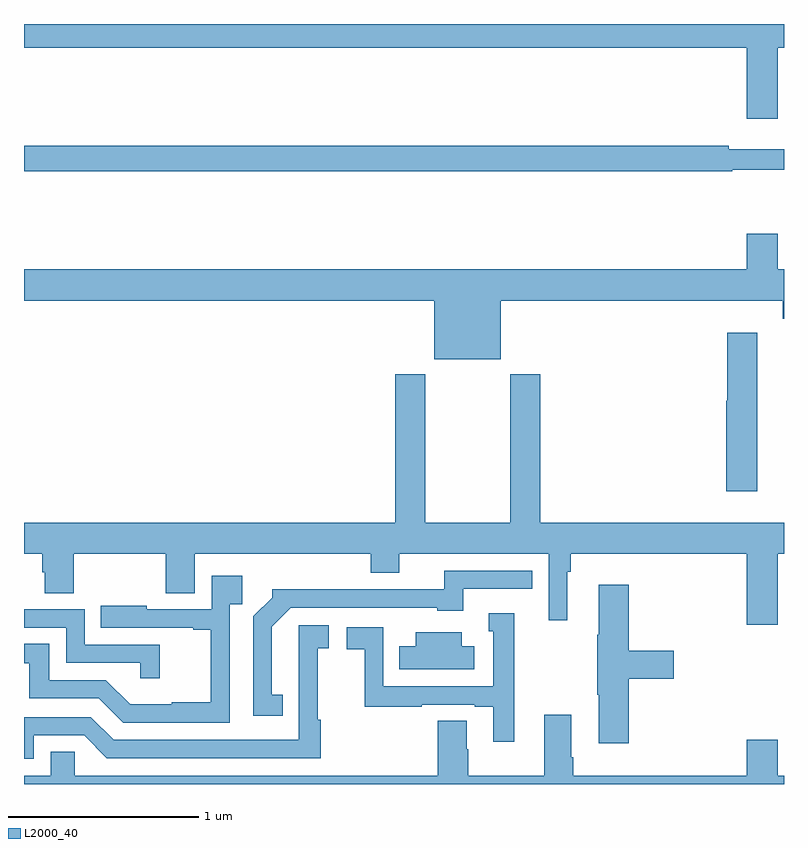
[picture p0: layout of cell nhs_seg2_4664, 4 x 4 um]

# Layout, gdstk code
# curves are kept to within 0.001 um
import gdstk
lib = gdstk.Library(unit=1e-6, precision=1e-09)
def P(c, l, *ps):  # polygons
    for p in ps: c.add(gdstk.Polygon(p, *l))
L2000_40 = (2000, 40)

nhs_seg2_4664 = lib.new_cell('nhs_seg2_4664')
P(nhs_seg2_4664, L2000_40, [(368.968,607.676),(369,607.676),(369,607.8),(365,607.8),(365,607.676),(368.804,607.676),(368.804,607.302),(368.968,607.302)],
  [(368.728,607.032),(369,607.032),(369,607.141),(368.708,607.141),(368.708,607.16),(365,607.16),(365,607.024),(368.728,607.024)],
  [(367.51,606.344),(368.993,606.344),(368.993,606.248),(369,606.248),(369,606.508),(368.968,606.508),(368.968,606.697),(368.804,606.697),(368.804,606.508),(365,606.508),(365,606.344),(367.16,606.344),(367.16,606.035),(367.51,606.035)],
  [(368.86,606.175),(368.702,606.175),(368.702,605.817),(368.696,605.817),(368.696,605.34),(368.86,605.34)],
  [(368.968,605.012),(369,605.012),(369,605.176),(367.718,605.176),(367.718,605.956),(367.558,605.956),(367.558,605.176),(367.113,605.176),(367.113,605.956),(366.953,605.956),(366.953,605.176),(365,605.176),(365,605.012),(365.096,605.012),(365.096,604.914),(365.108,604.914),(365.108,604.804),(365.261,604.804),(365.261,605.012),(365.747,605.012),(365.747,604.804),(365.899,604.804),(365.899,605.012),(366.824,605.012),(366.824,604.913),(366.976,604.913),(366.976,605.012),(367.761,605.012),(367.761,604.662),(367.858,604.662),(367.858,604.916),(367.877,604.916),(367.877,605.012),(368.804,605.012),(368.804,604.638),(368.968,604.638)],
  [(366.362,604.271),(366.304,604.271),(366.304,604.627),(366.405,604.728),(367.176,604.728),(367.176,604.712),(367.312,604.712),(367.312,604.827),(367.676,604.827),(367.676,604.923),(367.213,604.923),(367.213,604.824),(366.74,604.824),(366.74,604.826),(366.306,604.826),(366.306,604.781),(366.207,604.682),(366.207,604.158),(366.362,604.158)],
  [(366.084,604.745),(366.149,604.745),(366.149,604.897),(365.988,604.897),(365.988,604.719),(365.647,604.719),(365.647,604.738),(365.404,604.738),(365.404,604.623),(365.891,604.623),(365.891,604.611),(365.983,604.611),(365.983,604.231),(365.777,604.231),(365.777,604.219),(365.558,604.219),(365.43,604.347),(365.134,604.347),(365.134,604.538),(365,604.538),(365,604.435),(365.027,604.435),(365.027,604.251),(365.394,604.251),(365.523,604.122),(366.084,604.122)],
  [(368.183,604.355),(368.419,604.355),(368.419,604.502),(368.183,604.502),(368.183,604.849),(368.024,604.849),(368.024,604.585),(368.017,604.585),(368.017,604.271),(368.024,604.271),(368.024,604.014),(368.183,604.014)],
  [(365.714,604.533),(365.319,604.533),(365.319,604.719),(365,604.719),(365,604.623),(365.223,604.623),(365.223,604.437),(365.613,604.437),(365.613,604.356),(365.714,604.356)],
  [(367.579,604.699),(367.445,604.699),(367.445,604.605),(367.47,604.605),(367.47,604.314),(366.891,604.314),(366.891,604.626),(366.699,604.626),(366.699,604.51),(366.793,604.51),(366.793,604.206),(367.094,604.206),(367.094,604.218),(367.373,604.218),(367.373,604.206),(367.469,604.206),(367.469,604.023),(367.579,604.023)],
  [(365.052,604.056),(365.316,604.056),(365.436,603.936),(366.563,603.936),(366.563,604.139),(366.546,604.139),(366.546,604.515),(366.604,604.515),(366.604,604.636),(366.446,604.636),(366.447,604.032),(365.472,604.032),(365.352,604.152),(365,604.152),(365,603.933),(365.052,603.933)],
  [(367.369,604.525),(367.303,604.525),(367.303,604.6),(367.061,604.6),(367.061,604.525),(366.976,604.525),(366.976,604.403),(367.369,604.403)],
  [(369,603.844),(368.968,603.844),(368.968,604.033),(368.804,604.033),(368.804,603.844),(367.892,603.844),(367.892,603.94),(367.879,603.94),(367.879,604.165),(367.739,604.165),(367.739,603.844),(367.338,603.844),(367.338,603.983),(367.33,603.983),(367.33,604.133),(367.178,604.133),(367.178,603.844),(365.268,603.844),(365.268,603.971),(365.141,603.971),(365.141,603.844),(365,603.844),(365,603.8),(369,603.8)])

lib.write_gds('nhs_seg2_4664.gds')
